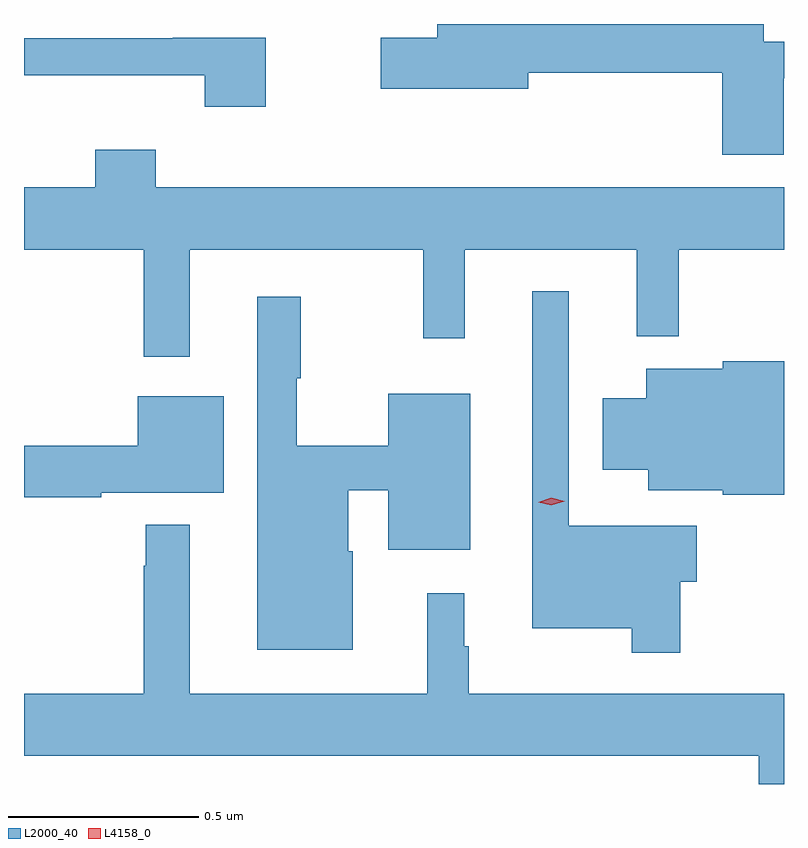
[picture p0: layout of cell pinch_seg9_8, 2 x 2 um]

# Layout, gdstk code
import gdstk
lib = gdstk.Library(unit=1e-6, precision=1e-09)
def P(c, l, *ps):  # polygons
    for p in ps: c.add(gdstk.Polygon(p, *l))
L2000_40 = (2000, 40)
L4158_0 = (4158, 0)

pinch_seg9_8 = lib.new_cell('pinch_seg9_8')
P(pinch_seg9_8, L2000_40, [(1048.18,1232.835),(1048.181,1232.835),(1048.181,1232.931),(1048.128,1232.931),(1048.128,1232.978),(1047.269,1232.978),(1047.269,1232.942),(1047.12,1232.942),(1047.12,1232.807),(1047.508,1232.807),(1047.508,1232.85),(1048.019,1232.85),(1048.019,1232.634),(1048.18,1232.634)],
  [(1046.817,1232.942),(1046.573,1232.942),(1046.573,1232.94),(1046.181,1232.94),(1046.181,1232.843),(1046.657,1232.843),(1046.657,1232.76),(1046.817,1232.76)],
  [(1046.617,1232.384),(1047.231,1232.384),(1047.231,1232.151),(1047.341,1232.151),(1047.341,1232.384),(1047.794,1232.384),(1047.794,1232.156),(1047.904,1232.156),(1047.904,1232.384),(1048.181,1232.384),(1048.181,1232.548),(1046.528,1232.548),(1046.528,1232.647),(1046.368,1232.647),(1046.368,1232.548),(1046.181,1232.548),(1046.181,1232.384),(1046.496,1232.384),(1046.496,1232.103),(1046.617,1232.103)],
  [(1047.908,1231.51),(1047.952,1231.51),(1047.952,1231.657),(1047.615,1231.657),(1047.615,1232.275),(1047.518,1232.275),(1047.518,1231.388),(1047.78,1231.388),(1047.78,1231.323),(1047.908,1231.323)],
  [(1047.046,1231.59),(1047.034,1231.59),(1047.034,1231.751),(1047.14,1231.751),(1047.14,1231.595),(1047.355,1231.595),(1047.355,1232.005),(1047.14,1232.005),(1047.14,1231.868),(1046.899,1231.868),(1046.899,1232.046),(1046.909,1232.046),(1046.909,1232.26),(1046.795,1232.26),(1046.795,1231.331),(1047.046,1231.331)],
  [(1048.181,1232.091),(1048.02,1232.091),(1048.02,1232.071),(1047.818,1232.071),(1047.818,1231.993),(1047.704,1231.993),(1047.704,1231.805),(1047.824,1231.805),(1047.824,1231.751),(1048.02,1231.751),(1048.02,1231.739),(1048.181,1231.739)],
  [(1046.384,1231.745),(1046.707,1231.745),(1046.707,1231.999),(1046.48,1231.999),(1046.48,1231.868),(1046.181,1231.868),(1046.181,1231.732),(1046.384,1231.732)],
  [(1048.181,1231.216),(1047.352,1231.216),(1047.352,1231.34),(1047.34,1231.34),(1047.34,1231.48),(1047.242,1231.48),(1047.242,1231.216),(1046.617,1231.216),(1046.617,1231.66),(1046.502,1231.66),(1046.502,1231.553),(1046.496,1231.553),(1046.496,1231.216),(1046.181,1231.216),(1046.181,1231.052),(1048.115,1231.052),(1048.115,1230.978),(1048.181,1230.978)])
P(pinch_seg9_8, L4158_0, [(1047.569,1231.711),(1047.534,1231.719),(1047.534,1231.719),(1047.534,1231.72),(1047.569,1231.731),(1047.604,1231.722),(1047.604,1231.722),(1047.604,1231.722)])

lib.write_gds('pinch_seg9_8.gds')
